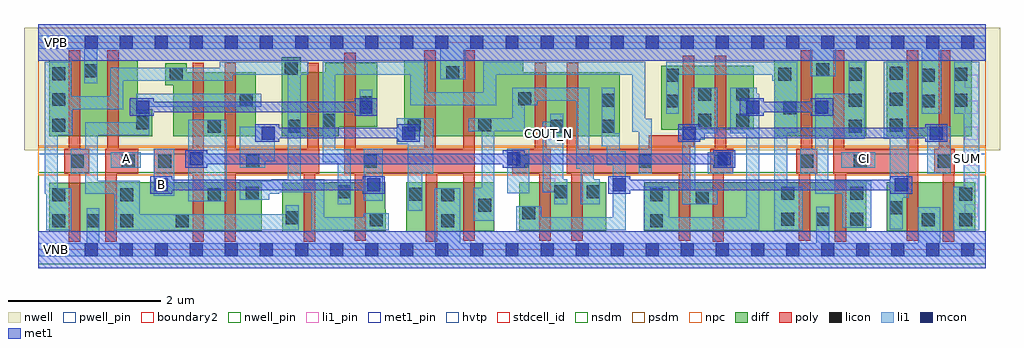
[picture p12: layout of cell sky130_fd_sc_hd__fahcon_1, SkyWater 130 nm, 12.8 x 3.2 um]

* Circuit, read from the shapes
.subckt sky130_fd_sc_hd__fahcon_1 A B CI COUT_N SUM VGND VNB VPB VPWR
XM1 VGND n1 n2 VNB sky130_fd_pr__nfet_01v8 w=0.64 l=0.15
XM2 n1 A VGND VNB sky130_fd_pr__nfet_01v8 w=0.65 l=0.15
XM3 n3 B n1 VNB sky130_fd_pr__nfet_01v8 w=0.64 l=0.15
XM4 n2 n4 n3 VNB sky130_fd_pr__nfet_01v8 w=0.64 l=0.15
XM5 n5 n4 n1 VNB sky130_fd_pr__nfet_01v8 w=0.64 l=0.15
XM6 n2 B n5 VNB sky130_fd_pr__nfet_01v8 w=0.64 l=0.15
XM7 VGND B n4 VNB sky130_fd_pr__nfet_01v8 w=0.65 l=0.15
XM8 n6 B VGND VNB sky130_fd_pr__nfet_01v8 w=0.64 l=0.15
XM9 COUT_N n3 n7 VNB sky130_fd_pr__nfet_01v8 w=0.64 l=0.15
XM10 n6 n5 COUT_N VNB sky130_fd_pr__nfet_01v8 w=0.64 l=0.15
XM11 n8 n5 n9 VNB sky130_fd_pr__nfet_01v8 w=0.64 l=0.15
XM12 n10 n3 n8 VNB sky130_fd_pr__nfet_01v8 w=0.64 l=0.15
XM13 VGND n9 n10 VNB sky130_fd_pr__nfet_01v8 w=0.64 l=0.15
XM14 n9 CI VGND VNB sky130_fd_pr__nfet_01v8 w=0.65 l=0.15
XM15 VGND CI n7 VNB sky130_fd_pr__nfet_01v8 w=0.64 l=0.15
XM16 SUM n8 VGND VNB sky130_fd_pr__nfet_01v8 w=0.65 l=0.15
XM17 VPWR n1 n2 VPB sky130_fd_pr__pfet_01v8_hvt w=1 l=0.15
XM18 n1 A VPWR VPB sky130_fd_pr__pfet_01v8_hvt w=1 l=0.15
XM19 n3 B n2 VPB sky130_fd_pr__pfet_01v8_hvt w=0.84 l=0.15
XM20 n1 n4 n3 VPB sky130_fd_pr__pfet_01v8_hvt w=0.84 l=0.15
XM21 n5 n4 n2 VPB sky130_fd_pr__pfet_01v8_hvt w=0.84 l=0.15
XM22 n1 B n5 VPB sky130_fd_pr__pfet_01v8_hvt w=0.84 l=0.15
XM23 VPWR B n4 VPB sky130_fd_pr__pfet_01v8_hvt w=1 l=0.15
XM24 n6 B VPWR VPB sky130_fd_pr__pfet_01v8_hvt w=1 l=0.15
XM25 COUT_N n3 n6 VPB sky130_fd_pr__pfet_01v8_hvt w=0.84 l=0.15
XM26 n7 n5 COUT_N VPB sky130_fd_pr__pfet_01v8_hvt w=0.84 l=0.15
XM27 n8 n5 n10 VPB sky130_fd_pr__pfet_01v8_hvt w=0.84 l=0.15
XM28 n9 n3 n8 VPB sky130_fd_pr__pfet_01v8_hvt w=0.84 l=0.15
XM29 VPWR n9 n10 VPB sky130_fd_pr__pfet_01v8_hvt w=1 l=0.15
XM30 n9 CI VPWR VPB sky130_fd_pr__pfet_01v8_hvt w=1 l=0.15
XM31 VPWR CI n7 VPB sky130_fd_pr__pfet_01v8_hvt w=1 l=0.15
XM32 SUM n8 VPWR VPB sky130_fd_pr__pfet_01v8_hvt w=1 l=0.15
.ends

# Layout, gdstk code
import gdstk
lib = gdstk.Library(unit=1e-6, precision=1e-09)
def R(c, l, rs):  # rectangles x0, y0, x1, y1
    for r in rs: c.add(gdstk.rectangle(r[:2], r[2:], *l))
def A(c, l, x, y, w, h, nx, ny, dx, dy):  # array of equal rectangles
    R(c, l, [(x+i*dx, y+j*dy, x+i*dx+w, y+j*dy+h) for i in range(nx) for j in range(ny)])
def P(c, l, *ps):  # polygons
    for p in ps: c.add(gdstk.Polygon(p, *l))
nwell_pin = (64, 16)
nwell = (64, 20)
diff = (65, 20)
poly = (66, 20)
licon = (66, 44)
li1_pin = (67, 16)
li1 = (67, 20)
mcon = (67, 44)
met1_pin = (68, 16)
met1 = (68, 20)
hvtp = (78, 44)
stdcell_id = (81, 4)
nsdm = (93, 44)
psdm = (94, 20)
npc = (95, 20)
pwell_pin = (122, 16)
boundary2 = (236, 0)

sky130_fd_sc_hd__fahcon_ = lib.new_cell('sky130_fd_sc_hd__fahcon_1')
R(sky130_fd_sc_hd__fahcon_, nwell_pin, [(0.145,2.635,0.315,2.805)])
R(sky130_fd_sc_hd__fahcon_, nwell, [(-0.19,1.305,12.61,2.91)])
R(sky130_fd_sc_hd__fahcon_, diff, [(6.305,0.245,7.445,0.885), (9.65,1.485,10.855,2.485), (11.125,1.485,12.24,2.485), (8.17,1.575,9.38,2.415)])
P(sky130_fd_sc_hd__fahcon_, diff, [(0.14,1.485),(0.14,2.485),(1.3,2.485),(1.3,1.845),(1.49,1.845),(1.49,1.485)],
  [(1.77,1.485),(1.77,2.155),(1.66,2.155),(1.66,2.445),(1.945,2.445),(1.945,2.325),(2.85,2.325),(2.85,1.485)],
  [(0.14,0.235),(0.14,0.875),(0.625,0.875),(0.625,0.885),(2.93,0.885),(2.93,0.245),(1.59,0.245),(1.59,0.235)],
  [(3.19,1.485),(3.19,2.525),(3.44,2.525),(3.44,2.325),(3.76,2.325),(3.76,2.45),(4.44,2.45),(4.44,1.61),(3.935,1.61),(3.935,1.485)],
  [(3.2,0.235),(3.2,0.875),(3.815,0.875),(3.815,0.885),(4.545,0.885),(4.545,0.53),(4.555,0.53),(4.555,0.245),(3.99,0.245),(3.99,0.235)],
  [(4.825,0.235),(4.825,0.605),(4.82,0.605),(4.82,0.885),(5.98,0.885),(5.98,0.245),(5.48,0.245),(5.48,0.235)],
  [(4.8,1.485),(4.8,2.485),(6.355,2.485),(6.355,2.325),(7.62,2.325),(7.62,1.485)],
  [(10.195,0.235),(10.195,0.245),(7.945,0.245),(7.945,0.885),(10.855,0.885),(10.855,0.235)],
  [(11.61,0.235),(11.61,0.245),(11.125,0.245),(11.125,0.885),(12.285,0.885),(12.285,0.235)])
R(sky130_fd_sc_hd__fahcon_, poly, [(5.08,0.105,5.23,1.01), (5.57,0.115,5.72,1.015), (3.525,1.325,3.675,2.455)])
P(sky130_fd_sc_hd__fahcon_, poly, [(11.86,0.105),(11.86,0.995),(11.745,0.995),(11.745,1.325),(11.805,1.325),(11.805,2.615),(11.955,2.615),(11.955,1.325),(12.015,1.325),(12.015,0.995),(12.01,0.995),(12.01,0.105)],
  [(10.445,0.105),(10.445,0.995),(10.42,0.995),(10.42,2.615),(10.57,2.615),(10.57,1.325),(11.385,1.325),(11.385,2.615),(11.535,2.615),(11.535,0.115),(11.385,0.115),(11.385,0.995),(10.595,0.995),(10.595,0.105)],
  [(9.97,0.115),(9.97,0.995),(9.94,0.995),(9.94,1.325),(10,1.325),(10,2.615),(10.15,2.615),(10.15,1.325),(10.21,1.325),(10.21,0.995),(10.12,0.995),(10.12,0.115)],
  [(8.84,0.105),(8.84,0.995),(8.81,0.995),(8.81,1.325),(8.87,1.325),(8.87,2.545),(9.02,2.545),(9.02,1.325),(9.11,1.325),(9.11,0.995),(8.99,0.995),(8.99,0.105)],
  [(0.4,0.105),(0.4,0.995),(0.335,0.995),(0.335,1.325),(0.4,1.325),(0.4,2.615),(0.55,2.615),(0.55,1.325),(0.665,1.325),(0.665,0.995),(0.55,0.995),(0.55,0.105)],
  [(0.875,0.105),(0.875,1.325),(0.9,1.325),(0.9,2.615),(1.05,2.615),(1.05,1.325),(1.31,1.325),(1.31,0.995),(1.025,0.995),(1.025,0.105)],
  [(2.02,0.105),(2.02,0.995),(1.52,0.995),(1.52,1.325),(2.02,1.325),(2.02,2.455),(2.17,2.455),(2.17,0.105)],
  [(2.44,0.105),(2.44,2.455),(2.59,2.455),(2.59,1.325),(3.685,1.325),(3.685,0.995),(3.63,0.995),(3.63,0.105),(3.48,0.105),(3.48,0.995),(2.59,0.995),(2.59,0.105)],
  [(6.565,0.115),(6.565,0.995),(6.215,0.995),(6.215,1.325),(6.51,1.325),(6.51,2.455),(6.66,2.455),(6.66,1.325),(6.715,1.325),(6.715,0.115)],
  [(6.99,0.115),(6.99,0.995),(6.93,0.995),(6.93,2.455),(7.08,2.455),(7.08,1.325),(8.005,1.325),(8.005,1.5),(8.45,1.5),(8.45,2.545),(8.6,2.545),(8.6,1.35),(8.55,1.35),(8.55,0.115),(8.4,0.115),(8.4,0.995),(7.14,0.995),(7.14,0.115)],
  [(4.145,0.115),(4.145,0.995),(4.01,0.995),(4.01,2.58),(4.16,2.58),(4.16,1.325),(5.06,1.325),(5.06,2.615),(5.21,2.615),(5.21,1.325),(5.57,1.325),(5.57,2.615),(5.72,2.615),(5.72,0.995),(4.295,0.995),(4.295,0.115)])
A(sky130_fd_sc_hd__fahcon_, licon, 10.625, 1.535, 0.17, 0.17, 1, 3, 0, 0.34)
A(sky130_fd_sc_hd__fahcon_, licon, 0.18, 1.545, 0.17, 0.17, 1, 3, 0, 0.34)
A(sky130_fd_sc_hd__fahcon_, licon, 11.165, 1.55, 0.17, 0.17, 1, 3, 0, 0.34)
R(sky130_fd_sc_hd__fahcon_, licon, [(0.18,0.295,0.35,0.465), (0.63,0.295,0.8,0.465), (1.075,0.295,1.245,0.465), (1.8,0.295,1.97,0.465), (5.28,0.295,5.45,0.465), (8.02,0.295,8.19,0.465), (4.345,0.305,4.515,0.475), (11.585,0.305,11.755,0.475), (12.075,0.305,12.245,0.475), (9.74,0.315,9.91,0.485), (10.2,0.315,10.37,0.485), (10.645,0.315,10.815,0.485), (3.24,0.335,3.41,0.505), (6.345,0.4,6.515,0.57), (11.165,0.465,11.335,0.635), (5.77,0.495,5.94,0.665), (8.62,0.595,8.79,0.765), (0.18,0.635,0.35,0.805), (1.075,0.635,1.245,0.805), (2.22,0.635,2.39,0.805), (5.28,0.635,5.45,0.805), (8.02,0.635,8.19,0.805), (4.86,0.645,5.03,0.815), (12.075,0.645,12.245,0.815), (2.72,0.655,2.89,0.825), (9.74,0.655,9.91,0.825), (10.645,0.655,10.815,0.825), (3.925,0.675,4.095,0.845), (6.765,0.675,6.935,0.845), (7.19,0.675,7.36,0.845), (0.425,1.075,0.595,1.245), (1.09,1.075,1.26,1.245), (1.57,1.075,1.74,1.245), (2.725,1.075,2.895,1.245), (4.265,1.075,4.435,1.245), (6.265,1.075,6.435,1.245), (7.875,1.075,8.045,1.245), (8.86,1.075,9.03,1.245), (9.99,1.075,10.16,1.245), (10.69,1.075,10.86,1.245), (11.795,1.075,11.965,1.245), (2.22,1.535,2.39,1.705), (3.27,1.535,3.44,1.705), (6.71,1.535,6.88,1.705), (7.39,1.535,7.56,1.705), (4.84,1.555,5.01,1.725), (5.77,1.555,5.94,1.725), (1.28,1.58,1.45,1.75), (3.725,1.615,3.895,1.785), (8.65,1.615,8.82,1.785), (9.15,1.615,9.32,1.785), (9.77,1.775,9.94,1.945), (4.21,1.845,4.38,2.015), (8.23,1.865,8.4,2.035), (11.585,1.865,11.755,2.035), (2.64,1.875,2.81,2.045), (7.39,1.875,7.56,2.045), (12.01,1.875,12.18,2.045), (6.29,1.895,6.46,2.065), (8.65,1.955,8.82,2.125), (9.15,1.955,9.32,2.125), (8.23,2.205,8.4,2.375), (11.585,2.205,11.755,2.375), (1.72,2.215,1.89,2.385), (9.7,2.215,9.87,2.385), (12.01,2.215,12.18,2.385), (5.35,2.235,5.52,2.405), (0.6,2.26,0.77,2.43), (10.2,2.275,10.37,2.445), (3.23,2.295,3.4,2.465)])
A(sky130_fd_sc_hd__fahcon_, li1_pin, 12.15, 0.425, 0.17, 0.17, 1, 6, 0, 0.34)
R(sky130_fd_sc_hd__fahcon_, li1_pin, [(1.525,0.765,1.695,0.935), (6.61,0.765,6.78,0.935), (1.065,1.105,1.235,1.275), (10.75,1.105,10.92,1.275), (6.61,1.445,6.78,1.615)])
R(sky130_fd_sc_hd__fahcon_, li1, [(1.965,0.635,2.47,1.705), (4.265,0.645,4.515,1.325), (1.51,0.71,1.78,1.325), (6.15,0.74,6.435,1.325), (8.78,0.995,9.11,1.275), (11.655,0.995,11.965,1.615), (0.95,1.075,1.34,1.275), (10.53,1.075,10.975,1.275), (4.21,1.755,4.38,2.095), (4.875,1.895,5.1,2.465), (3.955,2.295,5.095,2.465)])
P(sky130_fd_sc_hd__fahcon_, li1, [(0.995,0.255),(0.995,0.735),(0.61,0.735),(0.61,0.995),(0.425,0.995),(0.425,1.325),(0.61,1.325),(0.61,1.67),(1.28,1.67),(1.28,2.045),(2.92,2.045),(2.92,1.875),(1.45,1.875),(1.45,1.5),(0.78,1.5),(0.78,0.905),(1.325,0.905),(1.325,0.465),(3.24,0.465),(3.24,0.585),(3.41,0.585),(3.41,0.255)],
  [(0,-0.085),(0,0.085),(0.63,0.085),(0.63,0.545),(0.8,0.545),(0.8,0.085),(5.2,0.085),(5.2,0.805),(5.53,0.805),(5.53,0.085),(10.2,0.085),(10.2,0.565),(10.37,0.565),(10.37,0.085),(11.535,0.085),(11.535,0.555),(11.825,0.555),(11.825,0.085),(12.42,0.085),(12.42,-0.085)],
  [(11.585,1.785),(11.585,2.635),(10.455,2.635),(10.455,2.275),(10.12,2.275),(10.12,2.635),(5.6,2.635),(5.6,2.235),(5.27,2.235),(5.27,2.635),(0.77,2.635),(0.77,2.18),(0.6,2.18),(0.6,2.635),(0,2.635),(0,2.805),(12.42,2.805),(12.42,2.635),(11.84,2.635),(11.84,1.785)],
  [(11.995,0.255),(11.995,0.825),(12.135,0.825),(12.135,1.785),(12.01,1.785),(12.01,2.465),(12.335,2.465),(12.335,0.255)],
  [(11.165,0.27),(11.165,1.455),(11.085,1.455),(11.085,2.465),(11.415,2.465),(11.415,0.68),(11.335,0.68),(11.335,0.27)],
  [(10.54,0.285),(10.54,0.735),(10.19,0.735),(10.19,0.995),(9.99,0.995),(9.99,1.325),(10.19,1.325),(10.19,2.045),(10.625,2.045),(10.625,2.465),(10.835,2.465),(10.835,1.455),(10.36,1.455),(10.36,0.905),(10.92,0.905),(10.92,0.285)],
  [(9.65,0.255),(9.65,2.215),(9.95,2.215),(9.95,1.535),(9.82,1.535),(9.82,0.825),(10.02,0.825),(10.02,0.255)],
  [(8.23,1.785),(8.23,2.465),(9.95,2.465),(9.95,2.215),(9.62,2.215),(9.62,2.295),(8.4,2.295),(8.4,1.785)],
  [(2.64,1.075),(2.64,1.615),(3.1,1.615),(3.1,1.16),(2.975,1.16),(2.975,1.075)],
  [(3.58,0.255),(3.58,0.755),(3.16,0.755),(3.16,0.735),(3.025,0.735),(3.025,0.655),(2.64,0.655),(2.64,0.905),(3.055,0.905),(3.055,0.925),(3.27,0.925),(3.27,2.41),(3.44,2.41),(3.44,0.925),(3.75,0.925),(3.75,0.425),(4.265,0.425),(4.265,0.475),(4.595,0.475),(4.595,0.255)],
  [(4.84,0.51),(4.84,1.385),(4.7,1.385),(4.7,1.725),(5.18,1.725),(5.18,0.995),(5.03,0.995),(5.03,0.51)],
  [(6.765,0.595),(6.765,0.755),(6.61,0.755),(6.61,1.675),(6.71,1.675),(6.71,1.785),(6.88,1.785),(6.88,0.925),(6.935,0.925),(6.935,0.595)],
  [(5.7,0.38),(5.7,0.815),(5.81,0.815),(5.81,1.555),(5.645,1.555),(5.645,1.725),(6.21,1.725),(6.21,2.125),(7.22,2.125),(7.22,1.23),(7.28,1.23),(7.28,0.925),(7.36,0.925),(7.36,0.595),(7.11,0.595),(7.11,1.06),(7.05,1.06),(7.05,1.955),(6.54,1.955),(6.54,1.895),(6.38,1.895),(6.38,1.555),(5.98,1.555),(5.98,0.38)],
  [(6.265,0.255),(6.265,0.57),(6.595,0.57),(6.595,0.425),(7.53,0.425),(7.53,1.105),(7.45,1.105),(7.45,1.36),(7.39,1.36),(7.39,2.125),(7.56,2.125),(7.56,1.53),(7.62,1.53),(7.62,1.29),(7.7,1.29),(7.7,0.255)],
  [(7.875,0.995),(7.875,1.55),(7.79,1.55),(7.79,2.295),(6.005,2.295),(6.005,1.895),(5.005,1.895),(5.005,2.065),(5.835,2.065),(5.835,2.465),(7.96,2.465),(7.96,1.72),(8.045,1.72),(8.045,0.995)],
  [(0.1,0.255),(0.1,0.735),(0.085,0.735),(0.085,2.465),(0.43,2.465),(0.43,2.01),(0.94,2.01),(0.94,2.385),(2.375,2.385),(2.375,2.465),(3.54,2.465),(3.54,2.295),(2.545,2.295),(2.545,2.215),(1.11,2.215),(1.11,1.84),(0.44,1.84),(0.44,1.5),(0.255,1.5),(0.255,0.805),(0.43,0.805),(0.43,0.255)],
  [(8.44,0.595),(8.44,1.615),(8.57,1.615),(8.57,2.125),(8.9,2.125),(8.9,1.53),(8.74,1.53),(8.74,1.445),(8.61,1.445),(8.61,0.765),(8.9,0.765),(8.9,0.595)],
  [(3.925,0.595),(3.925,1.15),(3.725,1.15),(3.725,2.465),(4.01,2.465),(4.01,2.295),(3.895,2.295),(3.895,1.32),(4.095,1.32),(4.095,0.595)],
  [(7.935,0.255),(7.935,0.825),(8.27,0.825),(8.27,0.425),(9.28,0.425),(9.28,1.53),(9.07,1.53),(9.07,2.125),(9.42,2.125),(9.42,2.045),(9.45,2.045),(9.45,0.255)])
A(sky130_fd_sc_hd__fahcon_, mcon, 0.145, -0.085, 0.17, 0.17, 27, 2, 0.46, 2.72)
R(sky130_fd_sc_hd__fahcon_, mcon, [(1.525,0.765,1.695,0.935), (4.31,0.765,4.48,0.935), (7.53,0.765,7.7,0.935), (11.23,0.765,11.4,0.935), (1.985,1.105,2.155,1.275), (6.15,1.105,6.32,1.275), (8.91,1.105,9.08,1.275), (2.93,1.445,3.1,1.615), (4.77,1.445,4.94,1.615), (8.45,1.445,8.62,1.615), (11.69,1.445,11.86,1.615), (1.28,1.785,1.45,1.955), (4.21,1.785,4.38,1.955), (9.28,1.785,9.45,1.955), (10.19,1.785,10.36,1.955)])
R(sky130_fd_sc_hd__fahcon_, met1_pin, [(0.145,-0.085,0.315,0.085), (0.145,2.635,0.315,2.805)])
P(sky130_fd_sc_hd__fahcon_, met1, [(1.465,0.735),(1.465,0.965),(1.755,0.965),(1.755,0.92),(4.25,0.92),(4.25,0.965),(4.54,0.965),(4.54,0.735),(4.25,0.735),(4.25,0.78),(1.755,0.78),(1.755,0.735)],
  [(1.925,1.075),(1.925,1.305),(2.215,1.305),(2.215,1.26),(6.09,1.26),(6.09,1.305),(6.38,1.305),(6.38,1.26),(8.85,1.26),(8.85,1.305),(9.14,1.305),(9.14,1.075),(8.85,1.075),(8.85,1.12),(6.38,1.12),(6.38,1.075),(6.09,1.075),(6.09,1.12),(2.215,1.12),(2.215,1.075)],
  [(8.39,1.415),(8.39,1.645),(8.68,1.645),(8.68,1.6),(11.63,1.6),(11.63,1.645),(11.92,1.645),(11.92,1.415),(11.63,1.415),(11.63,1.46),(8.68,1.46),(8.68,1.415)],
  [(2.845,1.415),(2.845,1.645),(3.16,1.645),(3.16,1.6),(4.71,1.6),(4.71,1.645),(5,1.645),(5,1.415),(4.71,1.415),(4.71,1.46),(3.16,1.46),(3.16,1.415)],
  [(7.47,0.735),(7.47,0.965),(7.76,0.965),(7.76,0.92),(11.17,0.92),(11.17,0.965),(11.46,0.965),(11.46,0.735),(11.17,0.735),(11.17,0.78),(7.76,0.78),(7.76,0.735)],
  [(9.195,1.755),(9.195,1.985),(9.51,1.985),(9.51,1.94),(10.13,1.94),(10.13,1.985),(10.42,1.985),(10.42,1.755),(10.13,1.755),(10.13,1.8),(9.51,1.8),(9.51,1.755)],
  [(1.195,1.755),(1.195,1.985),(1.51,1.985),(1.51,1.94),(4.15,1.94),(4.15,1.985),(4.44,1.985),(4.44,1.755),(4.15,1.755),(4.15,1.8),(1.51,1.8),(1.51,1.755)])
R(sky130_fd_sc_hd__fahcon_, hvtp, [(0,1.25,12.42,2.72)])
R(sky130_fd_sc_hd__fahcon_, stdcell_id, [(0,0,12.42,2.72)])
R(sky130_fd_sc_hd__fahcon_, nsdm, [(0,-0.19,12.42,1.015)])
R(sky130_fd_sc_hd__fahcon_, psdm, [(0,1.355,12.42,2.91)])
R(sky130_fd_sc_hd__fahcon_, npc, [(0,0.975,12.42,1.345)])
R(sky130_fd_sc_hd__fahcon_, pwell_pin, [(0.145,-0.085,0.315,0.085)])
R(sky130_fd_sc_hd__fahcon_, boundary2, [(0,0,12.42,2.72)])
sky130_fd_sc_hd__fahcon_.add(gdstk.FlexPath([(0,0),(12.42,0)], 0.48, ends="flush", simple_path=True, layer=68, datatype=20))  # met1
sky130_fd_sc_hd__fahcon_.add(gdstk.FlexPath([(0,2.72),(12.42,2.72)], 0.48, ends="flush", simple_path=True, layer=68, datatype=20))  # met1
sky130_fd_sc_hd__fahcon_.add(gdstk.Label('COUT_N', (6.695,1.53), layer=67, texttype=5))
sky130_fd_sc_hd__fahcon_.add(gdstk.Label('B', (1.61,0.85), layer=67, texttype=5))
sky130_fd_sc_hd__fahcon_.add(gdstk.Label('A', (1.15,1.19), layer=67, texttype=5))
sky130_fd_sc_hd__fahcon_.add(gdstk.Label('SUM', (12.19,1.19), layer=67, texttype=5))
sky130_fd_sc_hd__fahcon_.add(gdstk.Label('CI', (10.835,1.19), layer=67, texttype=5))
sky130_fd_sc_hd__fahcon_.add(gdstk.Label('VNB', (0.23,0), layer=64, texttype=59))
sky130_fd_sc_hd__fahcon_.add(gdstk.Label('VPB', (0.23,2.72), layer=64, texttype=5))
sky130_fd_sc_hd__fahcon_.add(gdstk.Label('VPWR', (0.23,2.72), layer=68, texttype=5))
sky130_fd_sc_hd__fahcon_.add(gdstk.Label('VGND', (0.23,0), layer=68, texttype=5))
sky130_fd_sc_hd__fahcon_.add(gdstk.Label('B', (1.61,0.85), layer=68, texttype=5))
sky130_fd_sc_hd__fahcon_.add(gdstk.Label('fahcon_1', (0,0), layer=83, texttype=44))

lib.write_gds('sky130_fd_sc_hd__fahcon_1.gds')
